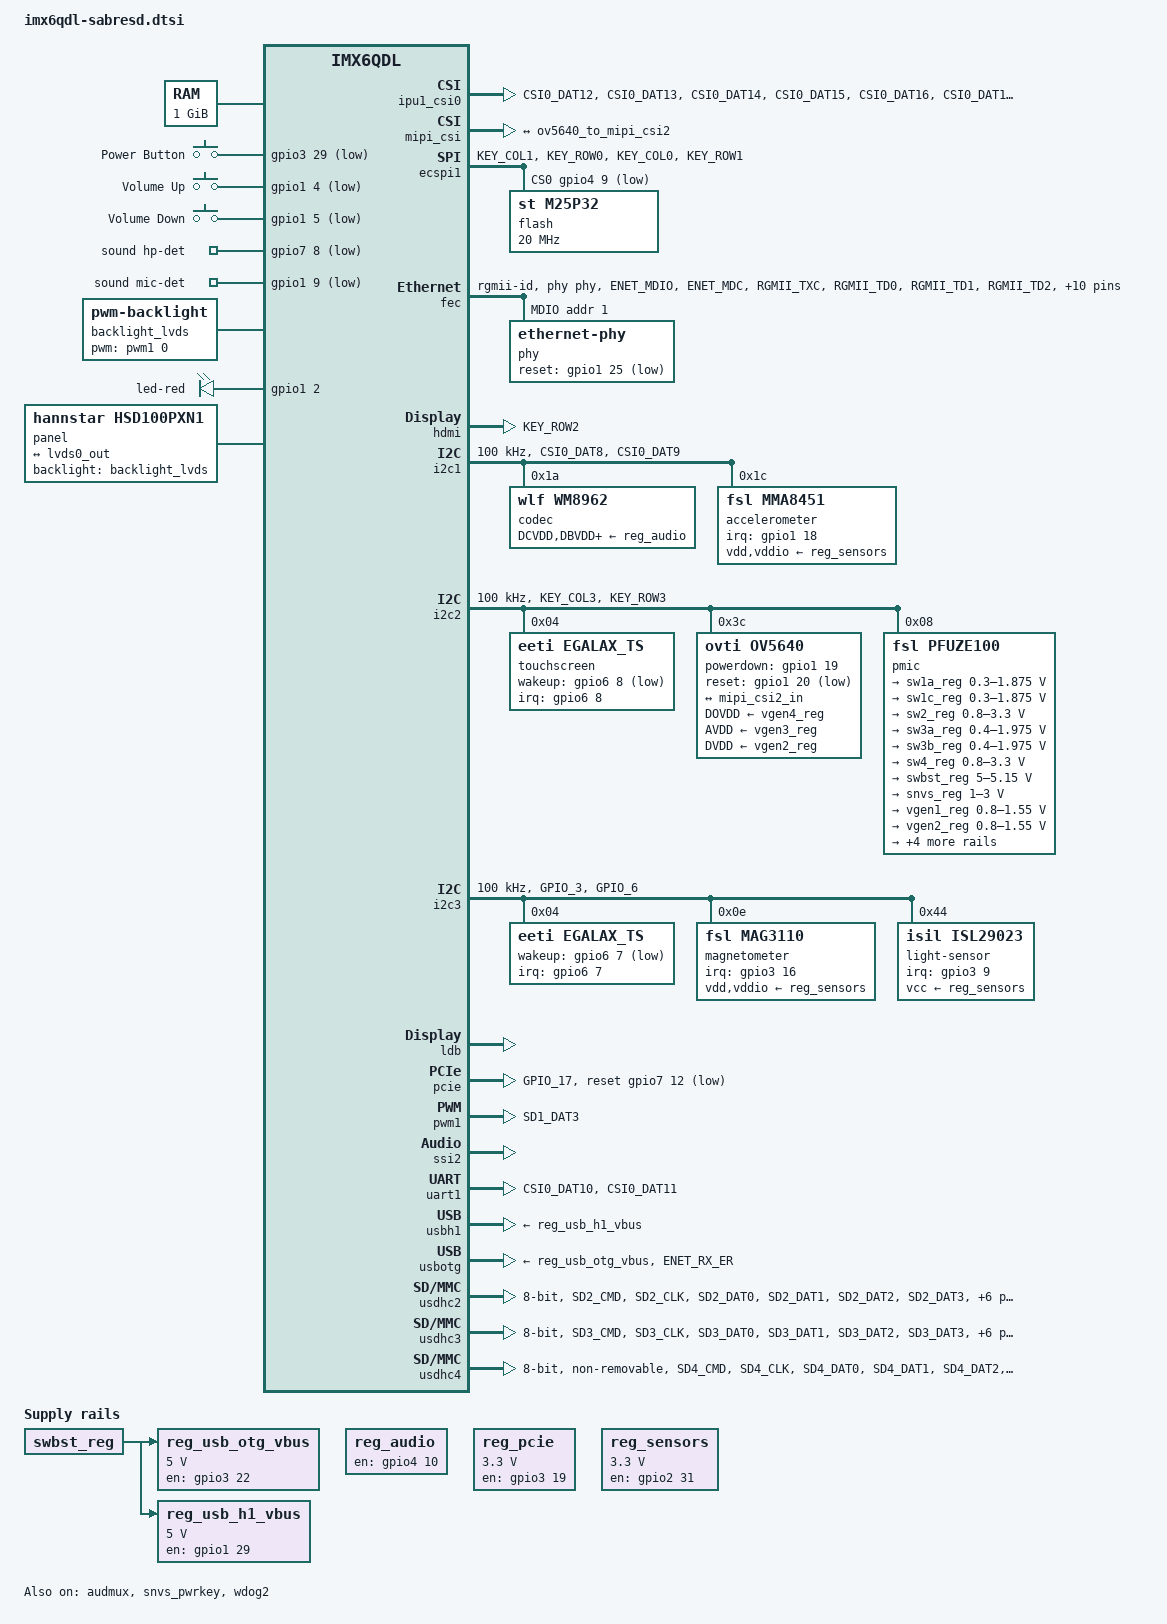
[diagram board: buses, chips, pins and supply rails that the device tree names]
// SPDX-License-Identifier: GPL-2.0+
//
// Copyright 2012 Freescale Semiconductor, Inc.
// Copyright 2011 Linaro Ltd.

#include <dt-bindings/clock/imx6qdl-clock.h>
#include <dt-bindings/gpio/gpio.h>
#include <dt-bindings/input/input.h>

/ {
	chosen {
		stdout-path = &uart1;
	};

	memory@10000000 {
		device_type = "memory";
		reg = <0x10000000 0x40000000>;
	};

	reg_usb_otg_vbus: regulator-usb-otg-vbus {
		compatible = "regulator-fixed";
		regulator-name = "usb_otg_vbus";
		regulator-min-microvolt = <5000000>;
		regulator-max-microvolt = <5000000>;
		gpio = <&gpio3 22 GPIO_ACTIVE_HIGH>;
		enable-active-high;
		vin-supply = <&swbst_reg>;
	};

	reg_usb_h1_vbus: regulator-usb-h1-vbus {
		compatible = "regulator-fixed";
		regulator-name = "usb_h1_vbus";
		regulator-min-microvolt = <5000000>;
		regulator-max-microvolt = <5000000>;
		gpio = <&gpio1 29 GPIO_ACTIVE_HIGH>;
		enable-active-high;
		vin-supply = <&swbst_reg>;
	};

	reg_audio: regulator-audio {
		compatible = "regulator-fixed";
		regulator-name = "wm8962-supply";
		gpio = <&gpio4 10 GPIO_ACTIVE_HIGH>;
		enable-active-high;
	};

	reg_pcie: regulator-pcie {
		compatible = "regulator-fixed";
		pinctrl-names = "default";
		pinctrl-0 = <&pinctrl_pcie_reg>;
		regulator-name = "MPCIE_3V3";
		regulator-min-microvolt = <3300000>;
		regulator-max-microvolt = <3300000>;
		gpio = <&gpio3 19 GPIO_ACTIVE_HIGH>;
		enable-active-high;
	};

	reg_sensors: regulator-sensors {
		compatible = "regulator-fixed";
		pinctrl-names = "default";
		pinctrl-0 = <&pinctrl_sensors_reg>;
		regulator-name = "sensors-supply";
		regulator-min-microvolt = <3300000>;
		regulator-max-microvolt = <3300000>;
		gpio = <&gpio2 31 GPIO_ACTIVE_HIGH>;
		enable-active-high;
	};

	gpio-keys {
		compatible = "gpio-keys";
		pinctrl-names = "default";
		pinctrl-0 = <&pinctrl_gpio_keys>;

		power {
			label = "Power Button";
			gpios = <&gpio3 29 GPIO_ACTIVE_LOW>;
			wakeup-source;
			linux,code = <KEY_POWER>;
		};

		volume-up {
			label = "Volume Up";
			gpios = <&gpio1 4 GPIO_ACTIVE_LOW>;
			wakeup-source;
			linux,code = <KEY_VOLUMEUP>;
		};

		volume-down {
			label = "Volume Down";
			gpios = <&gpio1 5 GPIO_ACTIVE_LOW>;
			wakeup-source;
			linux,code = <KEY_VOLUMEDOWN>;
		};
	};

	sound {
		compatible = "fsl,imx6q-sabresd-wm8962",
			   "fsl,imx-audio-wm8962";
		model = "wm8962-audio";
		pinctrl-names = "default";
		pinctrl-0 = <&pinctrl_hp>;
		ssi-controller = <&ssi2>;
		audio-codec = <&codec>;
		audio-asrc = <&asrc>;
		audio-routing =
			"Headphone Jack", "HPOUTL",
			"Headphone Jack", "HPOUTR",
			"Ext Spk", "SPKOUTL",
			"Ext Spk", "SPKOUTR",
			"AMIC", "MICBIAS",
			"IN3R", "AMIC",
			"DMIC", "MICBIAS",
			"DMICDAT", "DMIC";
		mux-int-port = <2>;
		mux-ext-port = <3>;
		hp-det-gpio = <&gpio7 8 GPIO_ACTIVE_LOW>;
		mic-det-gpio = <&gpio1 9 GPIO_ACTIVE_LOW>;
	};

	backlight_lvds: backlight-lvds {
		compatible = "pwm-backlight";
		pwms = <&pwm1 0 5000000>;
		brightness-levels = <0 4 8 16 32 64 128 255>;
		default-brightness-level = <7>;
		status = "okay";
	};

	leds {
		compatible = "gpio-leds";
		pinctrl-names = "default";
		pinctrl-0 = <&pinctrl_gpio_leds>;

		led-red {
			gpios = <&gpio1 2 0>;
			default-state = "on";
		};
	};

	panel {
		compatible = "hannstar,hsd100pxn1";
		backlight = <&backlight_lvds>;

		port {
			panel_in: endpoint {
				remote-endpoint = <&lvds0_out>;
			};
		};
	};
};

&ipu1_csi0_from_ipu1_csi0_mux {
	bus-width = <8>;
	data-shift = <12>; /* Lines 19:12 used */
	hsync-active = <1>;
	vsync-active = <1>;
};

&ipu1_csi0_mux_from_parallel_sensor {
	remote-endpoint = <&ov5642_to_ipu1_csi0_mux>;
};

&ipu1_csi0 {
	pinctrl-names = "default";
	pinctrl-0 = <&pinctrl_ipu1_csi0>;
};

&mipi_csi {
	status = "okay";

	port@0 {
		reg = <0>;

		mipi_csi2_in: endpoint {
			remote-endpoint = <&ov5640_to_mipi_csi2>;
			clock-lanes = <0>;
			data-lanes = <1 2>;
		};
	};
};

&audmux {
	pinctrl-names = "default";
	pinctrl-0 = <&pinctrl_audmux>;
	status = "okay";
};

&clks {
	assigned-clocks = <&clks IMX6QDL_CLK_LDB_DI0_SEL>,
			  <&clks IMX6QDL_CLK_LDB_DI1_SEL>;
	assigned-clock-parents = <&clks IMX6QDL_CLK_PLL3_USB_OTG>,
				 <&clks IMX6QDL_CLK_PLL3_USB_OTG>;
};

&ecspi1 {
	cs-gpios = <&gpio4 9 GPIO_ACTIVE_LOW>;
	pinctrl-names = "default";
	pinctrl-0 = <&pinctrl_ecspi1>;
	status = "okay";

	flash: flash@0 {
		#address-cells = <1>;
		#size-cells = <1>;
		compatible = "st,m25p32", "jedec,spi-nor";
		spi-max-frequency = <20000000>;
		reg = <0>;
	};
};

&fec {
	pinctrl-names = "default";
	pinctrl-0 = <&pinctrl_enet>;
	phy-mode = "rgmii-id";
	phy-handle = <&phy>;
	fsl,magic-packet;
	status = "okay";

	mdio {
		#address-cells = <1>;
		#size-cells = <0>;

		phy: ethernet-phy@1 {
			reg = <1>;
			qca,clk-out-frequency = <125000000>;
			reset-gpios = <&gpio1 25 GPIO_ACTIVE_LOW>;
			reset-assert-us = <10000>;
		};
	};
};

&hdmi {
	pinctrl-names = "default";
	pinctrl-0 = <&pinctrl_hdmi_cec>;
	ddc-i2c-bus = <&i2c2>;
	status = "okay";
};

&i2c1 {
	clock-frequency = <100000>;
	pinctrl-names = "default";
	pinctrl-0 = <&pinctrl_i2c1>;
	status = "okay";

	codec: wm8962@1a {
		compatible = "wlf,wm8962";
		reg = <0x1a>;
		clocks = <&clks IMX6QDL_CLK_CKO>;
		DCVDD-supply = <&reg_audio>;
		DBVDD-supply = <&reg_audio>;
		AVDD-supply = <&reg_audio>;
		CPVDD-supply = <&reg_audio>;
		MICVDD-supply = <&reg_audio>;
		PLLVDD-supply = <&reg_audio>;
		SPKVDD1-supply = <&reg_audio>;
		SPKVDD2-supply = <&reg_audio>;
		gpio-cfg = <
			0x0000 /* 0:Default */
			0x0000 /* 1:Default */
			0x0013 /* 2:FN_DMICCLK */
			0x0000 /* 3:Default */
			0x8014 /* 4:FN_DMICCDAT */
			0x0000 /* 5:Default */
		>;
	};

	accelerometer@1c {
		compatible = "fsl,mma8451";
		reg = <0x1c>;
		pinctrl-names = "default";
		pinctrl-0 = <&pinctrl_i2c1_mma8451_int>;
		interrupt-parent = <&gpio1>;
		interrupts = <18 IRQ_TYPE_LEVEL_LOW>;
		vdd-supply = <&reg_sensors>;
		vddio-supply = <&reg_sensors>;
	};

	ov5642: camera@3c {
		compatible = "ovti,ov5642";
		pinctrl-names = "default";
		pinctrl-0 = <&pinctrl_ov5642>;
		clocks = <&clks IMX6QDL_CLK_CKO>;
		clock-names = "xclk";
		reg = <0x3c>;
		DOVDD-supply = <&vgen4_reg>; /* 1.8v */
		AVDD-supply = <&vgen3_reg>;  /* 2.8v, rev C board is VGEN3
						rev B board is VGEN5 */
		DVDD-supply = <&vgen2_reg>;  /* 1.5v*/
		powerdown-gpios = <&gpio1 16 GPIO_ACTIVE_HIGH>;
		reset-gpios = <&gpio1 17 GPIO_ACTIVE_LOW>;
		status = "disabled";

		port {
			ov5642_to_ipu1_csi0_mux: endpoint {
				remote-endpoint = <&ipu1_csi0_mux_from_parallel_sensor>;
				bus-width = <8>;
				hsync-active = <1>;
				vsync-active = <1>;
			};
		};
	};
};

&i2c2 {
	clock-frequency = <100000>;
	pinctrl-names = "default";
	pinctrl-0 = <&pinctrl_i2c2>;
	status = "okay";

	touchscreen@4 {
		compatible = "eeti,egalax_ts";
		reg = <0x04>;
		pinctrl-names = "default";
		pinctrl-0 = <&pinctrl_i2c2_egalax_int>;
		interrupt-parent = <&gpio6>;
		interrupts = <8 IRQ_TYPE_LEVEL_LOW>;
		wakeup-gpios = <&gpio6 8 GPIO_ACTIVE_LOW>;
	};

	ov5640: camera@3c {
		compatible = "ovti,ov5640";
		pinctrl-names = "default";
		pinctrl-0 = <&pinctrl_ov5640>;
		reg = <0x3c>;
		clocks = <&clks IMX6QDL_CLK_CKO>;
		clock-names = "xclk";
		DOVDD-supply = <&vgen4_reg>; /* 1.8v */
		AVDD-supply = <&vgen3_reg>;  /* 2.8v, rev C board is VGEN3
						rev B board is VGEN5 */
		DVDD-supply = <&vgen2_reg>;  /* 1.5v*/
		powerdown-gpios = <&gpio1 19 GPIO_ACTIVE_HIGH>;
		reset-gpios = <&gpio1 20 GPIO_ACTIVE_LOW>;

		port {
			ov5640_to_mipi_csi2: endpoint {
				remote-endpoint = <&mipi_csi2_in>;
				clock-lanes = <0>;
				data-lanes = <1 2>;
			};
		};
	};

	pmic: pmic@8 {
		compatible = "fsl,pfuze100";
		reg = <0x08>;

		regulators {
			sw1a_reg: sw1ab {
				regulator-min-microvolt = <300000>;
				regulator-max-microvolt = <1875000>;
				regulator-boot-on;
				regulator-always-on;
				regulator-ramp-delay = <6250>;
			};

			sw1c_reg: sw1c {
				regulator-min-microvolt = <300000>;
				regulator-max-microvolt = <1875000>;
				regulator-boot-on;
				regulator-always-on;
				regulator-ramp-delay = <6250>;
			};

			sw2_reg: sw2 {
				regulator-min-microvolt = <800000>;
				regulator-max-microvolt = <3300000>;
				regulator-boot-on;
				regulator-always-on;
				regulator-ramp-delay = <6250>;
			};

			sw3a_reg: sw3a {
				regulator-min-microvolt = <400000>;
				regulator-max-microvolt = <1975000>;
				regulator-boot-on;
				regulator-always-on;
			};

			sw3b_reg: sw3b {
				regulator-min-microvolt = <400000>;
				regulator-max-microvolt = <1975000>;
				regulator-boot-on;
				regulator-always-on;
			};

			sw4_reg: sw4 {
				regulator-min-microvolt = <800000>;
				regulator-max-microvolt = <3300000>;
				regulator-always-on;
			};

			swbst_reg: swbst {
				regulator-min-microvolt = <5000000>;
				regulator-max-microvolt = <5150000>;
			};

			snvs_reg: vsnvs {
				regulator-min-microvolt = <1000000>;
				regulator-max-microvolt = <3000000>;
				regulator-boot-on;
				regulator-always-on;
			};

			vref_reg: vrefddr {
				regulator-boot-on;
				regulator-always-on;
			};

			vgen1_reg: vgen1 {
				regulator-min-microvolt = <800000>;
				regulator-max-microvolt = <1550000>;
			};

			vgen2_reg: vgen2 {
				regulator-min-microvolt = <800000>;
				regulator-max-microvolt = <1550000>;
			};

			vgen3_reg: vgen3 {
				regulator-min-microvolt = <1800000>;
				regulator-max-microvolt = <3300000>;
			};

			vgen4_reg: vgen4 {
				regulator-min-microvolt = <1800000>;
				regulator-max-microvolt = <3300000>;
				regulator-always-on;
			};

			vgen5_reg: vgen5 {
				regulator-min-microvolt = <1800000>;
				regulator-max-microvolt = <3300000>;
				regulator-always-on;
			};

			vgen6_reg: vgen6 {
				regulator-min-microvolt = <1800000>;
				regulator-max-microvolt = <3300000>;
				regulator-always-on;
			};
		};
	};
};

&i2c3 {
	clock-frequency = <100000>;
	pinctrl-names = "default";
	pinctrl-0 = <&pinctrl_i2c3>;
	status = "okay";

	egalax_ts@4 {
		compatible = "eeti,egalax_ts";
		reg = <0x04>;
		interrupt-parent = <&gpio6>;
		interrupts = <7 IRQ_TYPE_LEVEL_LOW>;
		wakeup-gpios = <&gpio6 7 GPIO_ACTIVE_LOW>;
	};

	magnetometer@e {
		compatible = "fsl,mag3110";
		reg = <0x0e>;
		pinctrl-names = "default";
		pinctrl-0 = <&pinctrl_i2c3_mag3110_int>;
		interrupt-parent = <&gpio3>;
		interrupts = <16 IRQ_TYPE_EDGE_RISING>;
		vdd-supply = <&reg_sensors>;
		vddio-supply = <&reg_sensors>;
	};

	light-sensor@44 {
		compatible = "isil,isl29023";
		reg = <0x44>;
		pinctrl-names = "default";
		pinctrl-0 = <&pinctrl_i2c3_isl29023_int>;
		interrupt-parent = <&gpio3>;
		interrupts = <9 IRQ_TYPE_EDGE_FALLING>;
		vcc-supply = <&reg_sensors>;
	};
};

&iomuxc {
	pinctrl-names = "default";
	pinctrl-0 = <&pinctrl_hog>;

	imx6qdl-sabresd {
		pinctrl_hog: hoggrp {
			fsl,pins = <
				MX6QDL_PAD_NANDF_D0__GPIO2_IO00 0x1b0b0
				MX6QDL_PAD_NANDF_D1__GPIO2_IO01 0x1b0b0
				MX6QDL_PAD_NANDF_D2__GPIO2_IO02 0x1b0b0
				MX6QDL_PAD_NANDF_D3__GPIO2_IO03 0x1b0b0
				MX6QDL_PAD_GPIO_0__CCM_CLKO1    0x130b0
				MX6QDL_PAD_NANDF_CLE__GPIO6_IO07 0x1b0b0
				MX6QDL_PAD_ENET_TXD1__GPIO1_IO29 0x1b0b0
				MX6QDL_PAD_EIM_D22__GPIO3_IO22  0x1b0b0
				MX6QDL_PAD_ENET_CRS_DV__GPIO1_IO25 0x1b0b0
			>;
		};

		pinctrl_audmux: audmuxgrp {
			fsl,pins = <
				MX6QDL_PAD_CSI0_DAT7__AUD3_RXD		0x130b0
				MX6QDL_PAD_CSI0_DAT4__AUD3_TXC		0x130b0
				MX6QDL_PAD_CSI0_DAT5__AUD3_TXD		0x110b0
				MX6QDL_PAD_CSI0_DAT6__AUD3_TXFS		0x130b0
			>;
		};

		pinctrl_ecspi1: ecspi1grp {
			fsl,pins = <
				MX6QDL_PAD_KEY_COL1__ECSPI1_MISO	0x100b1
				MX6QDL_PAD_KEY_ROW0__ECSPI1_MOSI	0x100b1
				MX6QDL_PAD_KEY_COL0__ECSPI1_SCLK	0x100b1
				MX6QDL_PAD_KEY_ROW1__GPIO4_IO09		0x1b0b0
			>;
		};

		pinctrl_enet: enetgrp {
			fsl,pins = <
				MX6QDL_PAD_ENET_MDIO__ENET_MDIO		0x1b0b0
				MX6QDL_PAD_ENET_MDC__ENET_MDC		0x1b0b0
				MX6QDL_PAD_RGMII_TXC__RGMII_TXC		0x1b030
				MX6QDL_PAD_RGMII_TD0__RGMII_TD0		0x1b030
				MX6QDL_PAD_RGMII_TD1__RGMII_TD1		0x1b030
				MX6QDL_PAD_RGMII_TD2__RGMII_TD2		0x1b030
				MX6QDL_PAD_RGMII_TD3__RGMII_TD3		0x1b030
				MX6QDL_PAD_RGMII_TX_CTL__RGMII_TX_CTL	0x1b030
				MX6QDL_PAD_ENET_REF_CLK__ENET_TX_CLK	0x1b0b0
				MX6QDL_PAD_RGMII_RXC__RGMII_RXC		0x1b030
				MX6QDL_PAD_RGMII_RD0__RGMII_RD0		0x1b030
				MX6QDL_PAD_RGMII_RD1__RGMII_RD1		0x1b030
				MX6QDL_PAD_RGMII_RD2__RGMII_RD2		0x1b030
				MX6QDL_PAD_RGMII_RD3__RGMII_RD3		0x1b030
				MX6QDL_PAD_RGMII_RX_CTL__RGMII_RX_CTL	0x1b030
				MX6QDL_PAD_GPIO_16__ENET_REF_CLK	0x4001b0a8
			>;
		};

		pinctrl_gpio_keys: gpio_keysgrp {
			fsl,pins = <
				MX6QDL_PAD_EIM_D29__GPIO3_IO29 0x1b0b0
				MX6QDL_PAD_GPIO_4__GPIO1_IO04  0x1b0b0
				MX6QDL_PAD_GPIO_5__GPIO1_IO05  0x1b0b0
			>;
		};

		pinctrl_hdmi_cec: hdmicecgrp {
			fsl,pins = <
				MX6QDL_PAD_KEY_ROW2__HDMI_TX_CEC_LINE	0x1f8b0
			>;
		};

		pinctrl_hp: hpgrp {
			fsl,pins = <
				MX6QDL_PAD_SD3_RST__GPIO7_IO08          0x1b0b0
				MX6QDL_PAD_GPIO_9__GPIO1_IO09           0x1b0b0
			>;
		};

		pinctrl_i2c1: i2c1grp {
			fsl,pins = <
				MX6QDL_PAD_CSI0_DAT8__I2C1_SDA		0x4001b8b1
				MX6QDL_PAD_CSI0_DAT9__I2C1_SCL		0x4001b8b1
			>;
		};

		pinctrl_i2c1_mma8451_int: i2c1mma8451intgrp {
			fsl,pins = <
				MX6QDL_PAD_SD1_CMD__GPIO1_IO18		0xb0b1
			>;
		};

		pinctrl_i2c2: i2c2grp {
			fsl,pins = <
				MX6QDL_PAD_KEY_COL3__I2C2_SCL		0x4001b8b1
				MX6QDL_PAD_KEY_ROW3__I2C2_SDA		0x4001b8b1
			>;
		};

		pinctrl_i2c2_egalax_int: i2c2egalaxintgrp {
			fsl,pins = <
				MX6QDL_PAD_NANDF_ALE__GPIO6_IO08	0x1b0b0
			>;
		};

		pinctrl_i2c3: i2c3grp {
			fsl,pins = <
				MX6QDL_PAD_GPIO_3__I2C3_SCL		0x4001b8b1
				MX6QDL_PAD_GPIO_6__I2C3_SDA		0x4001b8b1
			>;
		};

		pinctrl_i2c3_isl29023_int: i2c3isl29023intgrp {
			fsl,pins = <
				MX6QDL_PAD_EIM_DA9__GPIO3_IO09		0xb0b1
			>;
		};

		pinctrl_i2c3_mag3110_int: i2c3mag3110intgrp {
			fsl,pins = <
				MX6QDL_PAD_EIM_D16__GPIO3_IO16		0xb0b1
			>;
		};

		pinctrl_ipu1_csi0: ipu1csi0grp {
			fsl,pins = <
				MX6QDL_PAD_CSI0_DAT12__IPU1_CSI0_DATA12    0x1b0b0
				MX6QDL_PAD_CSI0_DAT13__IPU1_CSI0_DATA13    0x1b0b0
				MX6QDL_PAD_CSI0_DAT14__IPU1_CSI0_DATA14    0x1b0b0
				MX6QDL_PAD_CSI0_DAT15__IPU1_CSI0_DATA15    0x1b0b0
				MX6QDL_PAD_CSI0_DAT16__IPU1_CSI0_DATA16    0x1b0b0
				MX6QDL_PAD_CSI0_DAT17__IPU1_CSI0_DATA17    0x1b0b0
				MX6QDL_PAD_CSI0_DAT18__IPU1_CSI0_DATA18    0x1b0b0
				MX6QDL_PAD_CSI0_DAT19__IPU1_CSI0_DATA19    0x1b0b0
				MX6QDL_PAD_CSI0_PIXCLK__IPU1_CSI0_PIXCLK   0x1b0b0
				MX6QDL_PAD_CSI0_MCLK__IPU1_CSI0_HSYNC      0x1b0b0
				MX6QDL_PAD_CSI0_VSYNC__IPU1_CSI0_VSYNC     0x1b0b0
			>;
		};

		pinctrl_ov5640: ov5640grp {
			fsl,pins = <
				MX6QDL_PAD_SD1_DAT2__GPIO1_IO19 0x1b0b0
				MX6QDL_PAD_SD1_CLK__GPIO1_IO20  0x1b0b0
			>;
		};

		pinctrl_ov5642: ov5642grp {
			fsl,pins = <
				MX6QDL_PAD_SD1_DAT0__GPIO1_IO16 0x1b0b0
				MX6QDL_PAD_SD1_DAT1__GPIO1_IO17 0x1b0b0
			>;
		};

		pinctrl_pcie: pciegrp {
			fsl,pins = <
				MX6QDL_PAD_GPIO_17__GPIO7_IO12	0x1b0b0
			>;
		};

		pinctrl_pcie_reg: pciereggrp {
			fsl,pins = <
				MX6QDL_PAD_EIM_D19__GPIO3_IO19	0x1b0b0
			>;
		};

		pinctrl_pwm1: pwm1grp {
			fsl,pins = <
				MX6QDL_PAD_SD1_DAT3__PWM1_OUT		0x1b0b1
			>;
		};

		pinctrl_sensors_reg: sensorsreggrp {
			fsl,pins = <
				MX6QDL_PAD_EIM_EB3__GPIO2_IO31		0x1b0b0
			>;
		};

		pinctrl_uart1: uart1grp {
			fsl,pins = <
				MX6QDL_PAD_CSI0_DAT10__UART1_TX_DATA	0x1b0b1
				MX6QDL_PAD_CSI0_DAT11__UART1_RX_DATA	0x1b0b1
			>;
		};

		pinctrl_usbotg: usbotggrp {
			fsl,pins = <
				MX6QDL_PAD_ENET_RX_ER__USB_OTG_ID	0x17059
			>;
		};

		pinctrl_usdhc2: usdhc2grp {
			fsl,pins = <
				MX6QDL_PAD_SD2_CMD__SD2_CMD		0x17059
				MX6QDL_PAD_SD2_CLK__SD2_CLK		0x10059
				MX6QDL_PAD_SD2_DAT0__SD2_DATA0		0x17059
				MX6QDL_PAD_SD2_DAT1__SD2_DATA1		0x17059
				MX6QDL_PAD_SD2_DAT2__SD2_DATA2		0x17059
				MX6QDL_PAD_SD2_DAT3__SD2_DATA3		0x17059
				MX6QDL_PAD_NANDF_D4__SD2_DATA4		0x17059
				MX6QDL_PAD_NANDF_D5__SD2_DATA5		0x17059
				MX6QDL_PAD_NANDF_D6__SD2_DATA6		0x17059
				MX6QDL_PAD_NANDF_D7__SD2_DATA7		0x17059
			>;
		};

		pinctrl_usdhc3: usdhc3grp {
			fsl,pins = <
				MX6QDL_PAD_SD3_CMD__SD3_CMD		0x17059
				MX6QDL_PAD_SD3_CLK__SD3_CLK		0x10059
				MX6QDL_PAD_SD3_DAT0__SD3_DATA0		0x17059
				MX6QDL_PAD_SD3_DAT1__SD3_DATA1		0x17059
				MX6QDL_PAD_SD3_DAT2__SD3_DATA2		0x17059
				MX6QDL_PAD_SD3_DAT3__SD3_DATA3		0x17059
				MX6QDL_PAD_SD3_DAT4__SD3_DATA4		0x17059
				MX6QDL_PAD_SD3_DAT5__SD3_DATA5		0x17059
				MX6QDL_PAD_SD3_DAT6__SD3_DATA6		0x17059
				MX6QDL_PAD_SD3_DAT7__SD3_DATA7		0x17059
			>;
		};

		pinctrl_usdhc4: usdhc4grp {
			fsl,pins = <
				MX6QDL_PAD_SD4_CMD__SD4_CMD		0x17059
				MX6QDL_PAD_SD4_CLK__SD4_CLK		0x10059
				MX6QDL_PAD_SD4_DAT0__SD4_DATA0		0x17059
				MX6QDL_PAD_SD4_DAT1__SD4_DATA1		0x17059
				MX6QDL_PAD_SD4_DAT2__SD4_DATA2		0x17059
				MX6QDL_PAD_SD4_DAT3__SD4_DATA3		0x17059
				MX6QDL_PAD_SD4_DAT4__SD4_DATA4		0x17059
				MX6QDL_PAD_SD4_DAT5__SD4_DATA5		0x17059
				MX6QDL_PAD_SD4_DAT6__SD4_DATA6		0x17059
				MX6QDL_PAD_SD4_DAT7__SD4_DATA7		0x17059
			>;
		};

		pinctrl_wdog: wdoggrp {
			fsl,pins = <
				MX6QDL_PAD_GPIO_1__WDOG2_B		0x1b0b0
			>;
		};
	};

	gpio_leds {
		pinctrl_gpio_leds: gpioledsgrp {
			fsl,pins = <
				MX6QDL_PAD_GPIO_2__GPIO1_IO02 0x1b0b0
			>;
		};
	};
};

&ldb {
	status = "okay";

	lvds-channel@1 {
		fsl,data-mapping = "spwg";
		fsl,data-width = <18>;
		status = "okay";

		port@4 {
			reg = <4>;

			lvds0_out: endpoint {
				remote-endpoint = <&panel_in>;
			};
		};
	};
};

&pcie {
	pinctrl-names = "default";
	pinctrl-0 = <&pinctrl_pcie>;
	reset-gpio = <&gpio7 12 GPIO_ACTIVE_LOW>;
	vpcie-supply = <&reg_pcie>;
	status = "okay";
};

&pwm1 {
	#pwm-cells = <2>;
	pinctrl-names = "default";
	pinctrl-0 = <&pinctrl_pwm1>;
	status = "okay";
};

&reg_arm {
       vin-supply = <&sw1a_reg>;
};

&reg_pu {
       vin-supply = <&sw1c_reg>;
};

&reg_soc {
       vin-supply = <&sw1c_reg>;
};

&reg_vdd1p1 {
	vin-supply = <&vgen5_reg>;
};

&reg_vdd2p5 {
	vin-supply = <&vgen5_reg>;
};

&snvs_poweroff {
	status = "okay";
};

&snvs_pwrkey {
	status = "okay";
};

&ssi2 {
	status = "okay";
};

&uart1 {
	pinctrl-names = "default";
	pinctrl-0 = <&pinctrl_uart1>;
	status = "okay";
};

&usbh1 {
	vbus-supply = <&reg_usb_h1_vbus>;
	status = "okay";
};

&usbotg {
	vbus-supply = <&reg_usb_otg_vbus>;
	pinctrl-names = "default";
	pinctrl-0 = <&pinctrl_usbotg>;
	disable-over-current;
	status = "okay";
};

&usdhc2 {
	pinctrl-names = "default";
	pinctrl-0 = <&pinctrl_usdhc2>;
	bus-width = <8>;
	cd-gpios = <&gpio2 2 GPIO_ACTIVE_LOW>;
	wp-gpios = <&gpio2 3 GPIO_ACTIVE_HIGH>;
	status = "okay";
};

&usdhc3 {
	pinctrl-names = "default";
	pinctrl-0 = <&pinctrl_usdhc3>;
	bus-width = <8>;
	cd-gpios = <&gpio2 0 GPIO_ACTIVE_LOW>;
	wp-gpios = <&gpio2 1 GPIO_ACTIVE_HIGH>;
	status = "okay";
};

&usdhc4 {
	pinctrl-names = "default";
	pinctrl-0 = <&pinctrl_usdhc4>;
	bus-width = <8>;
	non-removable;
	no-1-8-v;
	status = "okay";
};

&wdog1 {
	status = "disabled";
};

&wdog2 {
	pinctrl-names = "default";
	pinctrl-0 = <&pinctrl_wdog>;
	fsl,ext-reset-output;
	status = "okay";
};
